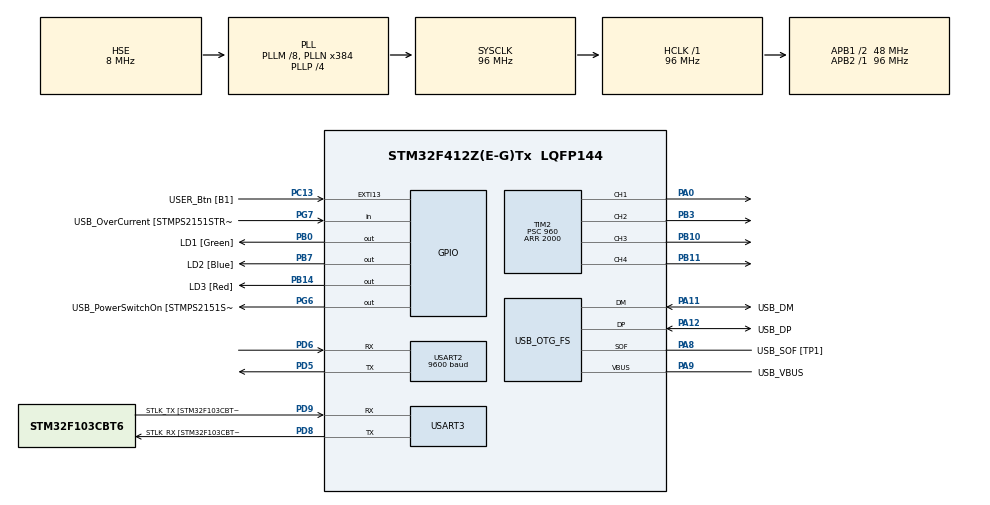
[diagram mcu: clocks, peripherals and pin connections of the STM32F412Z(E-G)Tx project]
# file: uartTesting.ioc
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Mcu.Family=STM32F4
Mcu.Name=STM32F412Z(E-G)Tx
Mcu.Package=LQFP144
NVIC.PriorityGroup=NVIC_PRIORITYGROUP_4
NVIC.USART2_IRQn=true\:0\:0\:false\:false\:true\:true\:true
PA0.Signal=S_TIM2_CH1_ETR
PA10.GPIO_Label=USB_ID
PA10.Signal=USB_OTG_FS_ID
PA11.GPIO_Label=USB_DM
PA11.Mode=Device_Only
PA11.Signal=USB_OTG_FS_DM
PA12.GPIO_Label=USB_DP
PA12.Mode=Device_Only
PA12.Signal=USB_OTG_FS_DP
PA13.GPIO_Label=TMS
PA13.Mode=Serial_Wire
PA13.Signal=SYS_JTMS-SWDIO
PA14.GPIO_Label=TCK
PA14.Mode=Serial_Wire
PA14.Signal=SYS_JTCK-SWCLK
PA8.GPIO_Label=USB_SOF [TP1]
PA8.Mode=Activate_SOF_FS
PA8.Signal=USB_OTG_FS_SOF
PA9.GPIO_Label=USB_VBUS
PA9.Mode=Activate_VBUS
PA9.Signal=USB_OTG_FS_VBUS
PB0.GPIO_Label=LD1 [Green]
PB0.Signal=GPIO_Output
PB10.Signal=S_TIM2_CH3
PB11.Signal=S_TIM2_CH4
PB14.GPIO_Label=LD3 [Red]
PB14.Signal=GPIO_Output
PB3.Signal=S_TIM2_CH2
PB7.GPIO_Label=LD2 [Blue]
PB7.Signal=GPIO_Output
PC13.GPIO_Label=USER_Btn [B1]
PC13.Signal=GPXTI13
PC14-OSC32_IN.Mode=LSE-External-Oscillator
PC14-OSC32_IN.Signal=RCC_OSC32_IN
PC15-OSC32_OUT.Mode=LSE-External-Oscillator
PC15-OSC32_OUT.Signal=RCC_OSC32_OUT
PD5.Mode=Asynchronous
PD5.Signal=USART2_TX
PD6.Mode=Asynchronous
PD6.Signal=USART2_RX
PD8.GPIO_Label=STLK_RX [STM32F103CBT6_PA3]
PD8.Mode=Asynchronous
PD8.Signal=USART3_TX
PD9.GPIO_Label=STLK_TX [STM32F103CBT6_PA2]
PD9.Mode=Asynchronous
PD9.Signal=USART3_RX
PG6.GPIO_Label=USB_PowerSwitchOn [STMPS2151STR_EN]
PG6.Signal=GPIO_Output
PG7.GPIO_Label=USB_OverCurrent [STMPS2151STR_FAULT]
PG7.Signal=GPIO_Input
PH0\ -\ OSC_IN.GPIO_Label=MCO
PH0\ -\ OSC_IN.Mode=HSE-External-Clock-Source
PH0\ -\ OSC_IN.Signal=RCC_OSC_IN
PH1\ -\ OSC_OUT.Mode=HSE-External-Clock-Source
PH1\ -\ OSC_OUT.Signal=RCC_OSC_OUT
ProjectManager.HeapSize=0x200
ProjectManager.StackSize=0x400
ProjectManager.TargetToolchain=STM32CubeIDE
RCC.48MHZClocksFreq_Value=24000000
RCC.AHBFreq_Value=96000000
RCC.APB1CLKDivider=RCC_HCLK_DIV2
RCC.APB1Freq_Value=48000000
RCC.APB1TimFreq_Value=96000000
RCC.APB2Freq_Value=96000000
RCC.APB2TimFreq_Value=96000000
RCC.CortexFreq_Value=96000000
RCC.HCLKFreq_Value=96000000
RCC.HSE_VALUE=8000000
RCC.HSI_VALUE=16000000
RCC.PLLM=8
RCC.PLLMUL=RCC_PLL_MUL9
RCC.PLLN=384
RCC.PLLP=RCC_PLLP_DIV4
RCC.PLLQ=8
RCC.PRESCALERUSB=RCC_USBCLKSOURCE_PLL_DIV1_5
RCC.SYSCLKFreq_VALUE=96000000
RCC.SYSCLKSource=RCC_SYSCLKSOURCE_PLLCLK
RCC.SYSCLKSourceVirtual=RCC_SYSCLKSOURCE_PLLCLK
RCC.USBFreq_Value=48000000
RCC.VCOOutputFreq_Value=384000000
SH.S_TIM2_CH1_ETR.0=TIM2_CH1,PWM Generation1 CH1
SH.S_TIM2_CH2.0=TIM2_CH2,PWM Generation2 CH2
SH.S_TIM2_CH3.0=TIM2_CH3,PWM Generation3 CH3
SH.S_TIM2_CH4.0=TIM2_CH4,PWM Generation4 CH4
TIM2.Channel-PWM\ Generation1\ CH1=TIM_CHANNEL_1
TIM2.Channel-PWM\ Generation2\ CH2=TIM_CHANNEL_2
TIM2.Channel-PWM\ Generation3\ CH3=TIM_CHANNEL_3
TIM2.Channel-PWM\ Generation4\ CH4=TIM_CHANNEL_4
TIM2.Period=2000
TIM2.Prescaler=960
TIM2.Pulse-PWM\ Generation1\ CH1=50
USART2.BaudRate=9600
USART2.VirtualMode=VM_ASYNC
USART3.VirtualMode=VM_ASYNC
USB_OTG_FS.VirtualMode=Device_Only
VP_TIM2_VS_ClockSourceINT.Mode=Internal
board=NUCLEO-F412ZG

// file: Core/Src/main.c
/* USER CODE BEGIN Header */
/**
  ******************************************************************************
  * @file           : main.c
  * @brief          : Main program body
  ******************************************************************************
  * @attention
  *
  * Copyright (c) 2022 STMicroelectronics.
  * All rights reserved.
  *
  * This software is licensed under terms that can be found in the LICENSE file
  * in the root directory of this software component.
  * If no LICENSE file comes with this software, it is provided AS-IS.
  *
  ******************************************************************************
  */
/* USER CODE END Header */
#include "main.h"

/* USER CODE BEGIN Includes */
#include <stdio.h>
#include <stdlib.h>
#include <string.h>
/* USER CODE END Includes */

TIM_HandleTypeDef htim2;

UART_HandleTypeDef huart2;
UART_HandleTypeDef huart3;

PCD_HandleTypeDef hpcd_USB_OTG_FS;

/* USER CODE BEGIN PV */
int nums[3] = {0, 0, 0};
/* USER CODE END PV */

void SystemClock_Config(void);
static void MX_GPIO_Init(void);
static void MX_USART3_UART_Init(void);
static void MX_USB_OTG_FS_PCD_Init(void);
static void MX_USART2_UART_Init(void);
static void MX_TIM2_Init(void);
/* USER CODE BEGIN PFP */
void usart2_rx_handler(void);
void led_toggle(int num);
/* USER CODE END PFP */

/* USER CODE BEGIN 0 */
void usart2_rx_handler(void){
  char buff[3] = {0};
  HAL_UART_Receive (&huart2, (uint8_t *)&buff, 3, 400);

  nums[0] = buff[0];
  nums[1] = buff[1];
  nums[2] = buff[2];

  htim2.Instance->CCR1 = nums[0];
  htim2.Instance->CCR2 = nums[1];
  htim2.Instance->CCR3 = nums[2];
}

/* USER CODE END 0 */

int main(void)
{

  /* MCU Configuration--------------------------------------------------------*/

  /* Reset of all peripherals, Initializes the Flash interface and the Systick. */
  HAL_Init();

  /* Configure the system clock */
  SystemClock_Config();

  /* Initialize all configured peripherals */
  MX_GPIO_Init();
  MX_USART3_UART_Init();
  MX_USB_OTG_FS_PCD_Init();
  MX_USART2_UART_Init();
  MX_TIM2_Init();
  /* USER CODE BEGIN 2 */
  //HAL_GPIO_TogglePin(GPIOB, GPIO_PIN_7);
 // HAL_Delay(200);
  //HAL_GPIO_TogglePin(GPIOB, GPIO_PIN_7);

  HAL_TIM_PWM_Start(&htim2, TIM_CHANNEL_1);
  HAL_TIM_PWM_Start(&htim2, TIM_CHANNEL_2);
  HAL_TIM_PWM_Start(&htim2, TIM_CHANNEL_3);
  HAL_TIM_PWM_Start(&htim2, TIM_CHANNEL_4);

  htim2.Instance->CCR4 = 160;

  /* USER CODE END 2 */

  /* Infinite loop */
  /* USER CODE BEGIN WHILE */
  while (1)
  {
	 //htim2.Instance->CCR4 = 160;
	 //HAL_Delay(1000);
	 // htim2.Instance->CCR1 = 120;
	 // HAL_Delay(1000);

    /* USER CODE END WHILE */

  }
}

void SystemClock_Config(void)
{
  RCC_OscInitTypeDef RCC_OscInitStruct = {0};
  RCC_ClkInitTypeDef RCC_ClkInitStruct = {0};

  /** Configure the main internal regulator output voltage
  */
  __HAL_RCC_PWR_CLK_ENABLE();
  __HAL_PWR_VOLTAGESCALING_CONFIG(PWR_REGULATOR_VOLTAGE_SCALE1);
  /** Initializes the RCC Oscillators according to the specified parameters
  * in the RCC_OscInitTypeDef structure.
  */
  RCC_OscInitStruct.OscillatorType = RCC_OSCILLATORTYPE_HSE;
  RCC_OscInitStruct.HSEState = RCC_HSE_BYPASS;
  RCC_OscInitStruct.PLL.PLLState = RCC_PLL_ON;
  RCC_OscInitStruct.PLL.PLLSource = RCC_PLLSOURCE_HSE;
  RCC_OscInitStruct.PLL.PLLM = 8;
  RCC_OscInitStruct.PLL.PLLN = 384;
  RCC_OscInitStruct.PLL.PLLP = RCC_PLLP_DIV4;
  RCC_OscInitStruct.PLL.PLLQ = 8;
  RCC_OscInitStruct.PLL.PLLR = 2;
  if (HAL_RCC_OscConfig(&RCC_OscInitStruct) != HAL_OK)
  {
    Error_Handler();
  }
  /** Initializes the CPU, AHB and APB buses clocks
  */
  RCC_ClkInitStruct.ClockType = RCC_CLOCKTYPE_HCLK|RCC_CLOCKTYPE_SYSCLK
                              |RCC_CLOCKTYPE_PCLK1|RCC_CLOCKTYPE_PCLK2;
  RCC_ClkInitStruct.SYSCLKSource = RCC_SYSCLKSOURCE_PLLCLK;
  RCC_ClkInitStruct.AHBCLKDivider = RCC_SYSCLK_DIV1;
  RCC_ClkInitStruct.APB1CLKDivider = RCC_HCLK_DIV2;
  RCC_ClkInitStruct.APB2CLKDivider = RCC_HCLK_DIV1;

  if (HAL_RCC_ClockConfig(&RCC_ClkInitStruct, FLASH_LATENCY_3) != HAL_OK)
  {
    Error_Handler();
  }
}

static void MX_TIM2_Init(void)
{

  TIM_ClockConfigTypeDef sClockSourceConfig = {0};
  TIM_MasterConfigTypeDef sMasterConfig = {0};
  TIM_OC_InitTypeDef sConfigOC = {0};

  htim2.Instance = TIM2;
  htim2.Init.Prescaler = 960;
  htim2.Init.CounterMode = TIM_COUNTERMODE_UP;
  htim2.Init.Period = 2000;
  htim2.Init.ClockDivision = TIM_CLOCKDIVISION_DIV1;
  htim2.Init.AutoReloadPreload = TIM_AUTORELOAD_PRELOAD_DISABLE;
  if (HAL_TIM_Base_Init(&htim2) != HAL_OK)
  {
    Error_Handler();
  }
  sClockSourceConfig.ClockSource = TIM_CLOCKSOURCE_INTERNAL;
  if (HAL_TIM_ConfigClockSource(&htim2, &sClockSourceConfig) != HAL_OK)
  {
    Error_Handler();
  }
  if (HAL_TIM_PWM_Init(&htim2) != HAL_OK)
  {
    Error_Handler();
  }
  sMasterConfig.MasterOutputTrigger = TIM_TRGO_RESET;
  sMasterConfig.MasterSlaveMode = TIM_MASTERSLAVEMODE_DISABLE;
  if (HAL_TIMEx_MasterConfigSynchronization(&htim2, &sMasterConfig) != HAL_OK)
  {
    Error_Handler();
  }
  sConfigOC.OCMode = TIM_OCMODE_PWM1;
  sConfigOC.Pulse = 50;
  sConfigOC.OCPolarity = TIM_OCPOLARITY_HIGH;
  sConfigOC.OCFastMode = TIM_OCFAST_DISABLE;
  if (HAL_TIM_PWM_ConfigChannel(&htim2, &sConfigOC, TIM_CHANNEL_1) != HAL_OK)
  {
    Error_Handler();
  }
  sConfigOC.Pulse = 0;
  if (HAL_TIM_PWM_ConfigChannel(&htim2, &sConfigOC, TIM_CHANNEL_2) != HAL_OK)
  {
    Error_Handler();
  }
  if (HAL_TIM_PWM_ConfigChannel(&htim2, &sConfigOC, TIM_CHANNEL_3) != HAL_OK)
  {
    Error_Handler();
  }
  if (HAL_TIM_PWM_ConfigChannel(&htim2, &sConfigOC, TIM_CHANNEL_4) != HAL_OK)
  {
    Error_Handler();
  }
  HAL_TIM_MspPostInit(&htim2);

}

static void MX_USART2_UART_Init(void)
{

  huart2.Instance = USART2;
  huart2.Init.BaudRate = 9600;
  huart2.Init.WordLength = UART_WORDLENGTH_8B;
  huart2.Init.StopBits = UART_STOPBITS_1;
  huart2.Init.Parity = UART_PARITY_NONE;
  huart2.Init.Mode = UART_MODE_TX_RX;
  huart2.Init.HwFlowCtl = UART_HWCONTROL_NONE;
  huart2.Init.OverSampling = UART_OVERSAMPLING_16;
  if (HAL_UART_Init(&huart2) != HAL_OK)
  {
    Error_Handler();
  }

}

static void MX_USART3_UART_Init(void)
{

  huart3.Instance = USART3;
  huart3.Init.BaudRate = 115200;
  huart3.Init.WordLength = UART_WORDLENGTH_8B;
  huart3.Init.StopBits = UART_STOPBITS_1;
  huart3.Init.Parity = UART_PARITY_NONE;
  huart3.Init.Mode = UART_MODE_TX_RX;
  huart3.Init.HwFlowCtl = UART_HWCONTROL_NONE;
  huart3.Init.OverSampling = UART_OVERSAMPLING_16;
  if (HAL_UART_Init(&huart3) != HAL_OK)
  {
    Error_Handler();
  }

}

static void MX_USB_OTG_FS_PCD_Init(void)
{

  hpcd_USB_OTG_FS.Instance = USB_OTG_FS;
  hpcd_USB_OTG_FS.Init.dev_endpoints = 6;
  hpcd_USB_OTG_FS.Init.speed = PCD_SPEED_FULL;
  hpcd_USB_OTG_FS.Init.dma_enable = DISABLE;
  hpcd_USB_OTG_FS.Init.phy_itface = PCD_PHY_EMBEDDED;
  hpcd_USB_OTG_FS.Init.Sof_enable = ENABLE;
  hpcd_USB_OTG_FS.Init.low_power_enable = DISABLE;
  hpcd_USB_OTG_FS.Init.lpm_enable = DISABLE;
  hpcd_USB_OTG_FS.Init.battery_charging_enable = ENABLE;
  hpcd_USB_OTG_FS.Init.vbus_sensing_enable = ENABLE;
  hpcd_USB_OTG_FS.Init.use_dedicated_ep1 = DISABLE;
  if (HAL_PCD_Init(&hpcd_USB_OTG_FS) != HAL_OK)
  {
    Error_Handler();
  }

}

static void MX_GPIO_Init(void)
{
  GPIO_InitTypeDef GPIO_InitStruct = {0};

  /* GPIO Ports Clock Enable */
  __HAL_RCC_GPIOC_CLK_ENABLE();
  __HAL_RCC_GPIOH_CLK_ENABLE();
  __HAL_RCC_GPIOA_CLK_ENABLE();
  __HAL_RCC_GPIOB_CLK_ENABLE();
  __HAL_RCC_GPIOD_CLK_ENABLE();
  __HAL_RCC_GPIOG_CLK_ENABLE();

  /*Configure GPIO pin Output Level */
  HAL_GPIO_WritePin(GPIOB, LD1_Pin|LD3_Pin|LD2_Pin, GPIO_PIN_RESET);

  /*Configure GPIO pin Output Level */
  HAL_GPIO_WritePin(USB_PowerSwitchOn_GPIO_Port, USB_PowerSwitchOn_Pin, GPIO_PIN_RESET);

  /*Configure GPIO pin : USER_Btn_Pin */
  GPIO_InitStruct.Pin = USER_Btn_Pin;
  GPIO_InitStruct.Mode = GPIO_MODE_IT_RISING;
  GPIO_InitStruct.Pull = GPIO_NOPULL;
  HAL_GPIO_Init(USER_Btn_GPIO_Port, &GPIO_InitStruct);

  /*Configure GPIO pins : LD1_Pin LD3_Pin LD2_Pin */
  GPIO_InitStruct.Pin = LD1_Pin|LD3_Pin|LD2_Pin;
  GPIO_InitStruct.Mode = GPIO_MODE_OUTPUT_PP;
  GPIO_InitStruct.Pull = GPIO_NOPULL;
  GPIO_InitStruct.Speed = GPIO_SPEED_FREQ_LOW;
  HAL_GPIO_Init(GPIOB, &GPIO_InitStruct);

  /*Configure GPIO pin : USB_PowerSwitchOn_Pin */
  GPIO_InitStruct.Pin = USB_PowerSwitchOn_Pin;
  GPIO_InitStruct.Mode = GPIO_MODE_OUTPUT_PP;
  GPIO_InitStruct.Pull = GPIO_NOPULL;
  GPIO_InitStruct.Speed = GPIO_SPEED_FREQ_LOW;
  HAL_GPIO_Init(USB_PowerSwitchOn_GPIO_Port, &GPIO_InitStruct);

  /*Configure GPIO pin : USB_OverCurrent_Pin */
  GPIO_InitStruct.Pin = USB_OverCurrent_Pin;
  GPIO_InitStruct.Mode = GPIO_MODE_INPUT;
  GPIO_InitStruct.Pull = GPIO_NOPULL;
  HAL_GPIO_Init(USB_OverCurrent_GPIO_Port, &GPIO_InitStruct);

}

void Error_Handler(void)
{
  __disable_irq();
  while (1)
  {
  }
}
